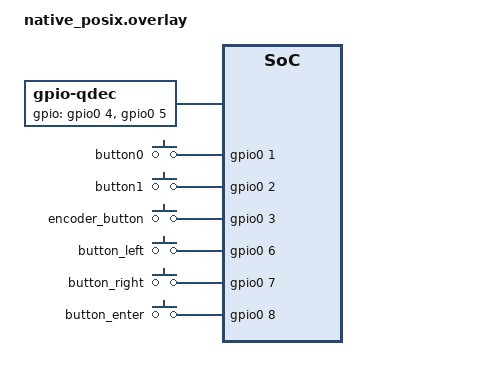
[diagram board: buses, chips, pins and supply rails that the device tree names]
/*
 * Copyright (c) 2022, Basalte bv
 *
 * SPDX-License-Identifier: Apache-2.0
 */

#include <zephyr/dt-bindings/input/input-event-codes.h>
#include <zephyr/dt-bindings/lvgl/lvgl.h>

/ {
	aliases {
		sw0 = &button0;
	};

	qdec {
		compatible = "gpio-qdec";
		gpios = <&gpio0 4 GPIO_ACTIVE_HIGH>, <&gpio0 5 GPIO_ACTIVE_HIGH>;
		steps-per-period = <4>;
		zephyr,axis = <INPUT_REL_WHEEL>;
		sample-time-us = <2000>;
		idle-timeout-ms = <200>;
	};

	keys: keys {
		compatible = "gpio-keys";
		button0: button0 {
			/* gpio0 pin 0 is already aliased to led0 */
			gpios = <&gpio0 1 GPIO_ACTIVE_HIGH>;
			zephyr,code = <INPUT_KEY_R>;
		};

		button1: button1 {
			gpios = <&gpio0 2 GPIO_ACTIVE_HIGH>;
			zephyr,code = <INPUT_KEY_B>;
		};

		encoder_button: encoder_button {
			gpios = <&gpio0 3 GPIO_ACTIVE_HIGH>;
			zephyr,code = <INPUT_KEY_0>;
		};

		button_left: button_left {
			gpios = <&gpio0 6 GPIO_ACTIVE_HIGH>;
			zephyr,code = <INPUT_KEY_LEFT>;
		};

		button_right: button_right {
			gpios = <&gpio0 7 GPIO_ACTIVE_HIGH>;
			zephyr,code = <INPUT_KEY_RIGHT>;
		};

		button_enter: button_enter {
			gpios = <&gpio0 8 GPIO_ACTIVE_HIGH>;
			zephyr,code = <INPUT_KEY_ENTER>;
		};
	};

	lvgl_button_input {
		compatible = "zephyr,lvgl-button-input";
		input = <&keys>;
		input-codes = <INPUT_KEY_B>;
		coordinates = <160 120>;
	};

	lvgl_encoder_input {
		compatible = "zephyr,lvgl-encoder-input";
		rotation-input-code = <INPUT_REL_WHEEL>;
		button-input-code = <INPUT_KEY_0>;
	};

	lvgl_keypad_input {
		compatible = "zephyr,lvgl-keypad-input";
		input = <&keys>;
		input-codes = <INPUT_KEY_LEFT INPUT_KEY_RIGHT INPUT_KEY_ENTER>;
		lvgl-codes = <LV_KEY_LEFT LV_KEY_RIGHT LV_KEY_ENTER>;
	};
};

&gpio0 {
	ngpios = <9>;

	sdl_gpio {
		status = "okay";
		compatible = "zephyr,gpio-emul-sdl";
		/* Skip pin 0 with the unknown code 0 */
		scancodes = <0 21 5 30 31 32 80 79 40>;
	};
};
